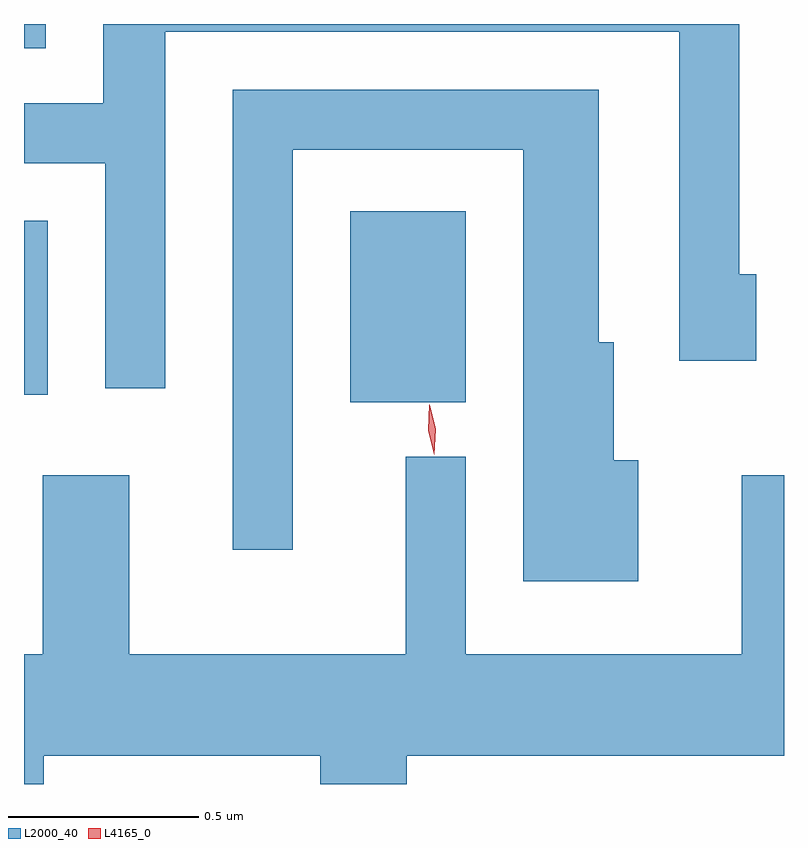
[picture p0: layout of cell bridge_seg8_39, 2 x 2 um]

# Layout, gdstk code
import gdstk
lib = gdstk.Library(unit=1e-6, precision=1e-09)
def R(c, l, rs):  # rectangles x0, y0, x1, y1
    for r in rs: c.add(gdstk.rectangle(r[:2], r[2:], *l))
def P(c, l, *ps):  # polygons
    for p in ps: c.add(gdstk.Polygon(p, *l))
L2000_40 = (2000, 40)
L4165_0 = (4165, 0)

bridge_seg8_39 = lib.new_cell('bridge_seg8_39')
R(bridge_seg8_39, L2000_40, [(1489.861,1881.746,1490.164,1882.249), (1489.002,1881.766,1489.064,1882.224), (1489.002,1882.678,1489.059,1882.742)])
P(bridge_seg8_39, L2000_40, [(1489.374,1882.721),(1490.726,1882.721),(1490.726,1881.856),(1490.929,1881.856),(1490.929,1882.084),(1490.884,1882.084),(1490.884,1882.742),(1489.211,1882.742),(1489.211,1882.534),(1489.002,1882.534),(1489.002,1882.376),(1489.216,1882.376),(1489.216,1881.783),(1489.374,1881.783)],
  [(1490.619,1881.594),(1490.554,1881.594),(1490.554,1881.904),(1490.514,1881.904),(1490.514,1882.569),(1489.551,1882.569),(1489.551,1881.358),(1489.709,1881.358),(1489.709,1882.411),(1490.316,1882.411),(1490.316,1881.276),(1490.619,1881.276)],
  [(1489.054,1880.816),(1489.781,1880.816),(1489.781,1880.742),(1490.009,1880.742),(1490.009,1880.816),(1491.002,1880.816),(1491.002,1881.554),(1490.891,1881.554),(1490.891,1881.084),(1490.164,1881.084),(1490.164,1881.603),(1490.006,1881.603),(1490.006,1881.084),(1489.279,1881.084),(1489.279,1881.554),(1489.051,1881.554),(1489.051,1881.084),(1489.002,1881.084),(1489.002,1880.742),(1489.054,1880.742)])
P(bridge_seg8_39, L4165_0, [(1490.081,1881.608),(1490.066,1881.673),(1490.069,1881.74),(1490.07,1881.74),(1490.07,1881.74),(1490.086,1881.675),(1490.082,1881.608),(1490.082,1881.608)])

lib.write_gds('bridge_seg8_39.gds')
